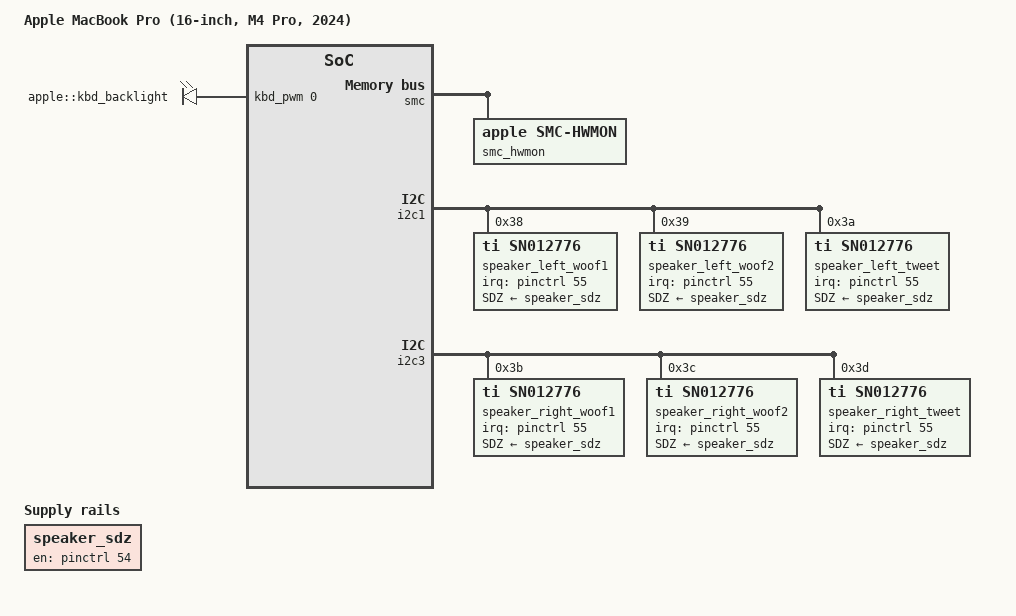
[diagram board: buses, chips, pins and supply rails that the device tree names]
// SPDX-License-Identifier: GPL-2.0+ OR MIT
/*
 * Apple MacBook Pro 16-inch (Mac16,7, J616s, T6040) for the M4 loader (rev 11).
 *
 * Filled in at boot by the loader from the ADT and its own layout (src/standalone/fixups.c):
	 * /memory: reg (single multi-range node), /memreserve map
	 * /chosen: bootargs, linux,initrd-*, rng-seed, m4,* records, lab,* descriptor; framebuffer node reg/format/size/stride/status
	 * /reserved-memory: reg of direct-smp-*, direct-desktop-*, aop-*; dcp-map pool (name, reg, compatible, iommu-addresses); memory-region lists
	 * dcp/display-subsystem/mailbox@402e08000/iommu@402340000/iommu@402300000: status okay once the display capture is accepted
	 * /cpus/cpu@*: cpu-release-addr from the SMP peer records
	 * bluetooth@0,1: local-bd-address, brcm,taurus-bf-cal-blob; wifi@0,0: brcm,cal-blob, apple,antenna-sku (ADT)
	 * headphone-codec-probe: status, lab,admission-result, lab,current-adt-validated (ADT contract)
	 * keyboard: hid-country-code (ADT)
 *
 * Declared differences from the rev 10 final tree: atc2_usb_aon is apple,always-on; the memory ranges are one
 * multi-range node; no m4,* diagnostic records.
 */

/dts-v1/;

/include/ "t6040.dtsi"
/include/ "t6040-j616s-gpu.dtsi"
/include/ "t6040-cpufreq.dtsi"
/include/ "t6040-pmc-mcc.dtsi"

/ {
	model = "Apple MacBook Pro (16-inch, M4 Pro, 2024)";
	compatible = "apple,j616s", "apple,t6040", "apple,arm-platform";

	reserved-memory {
		ranges;
		#address-cells = <2>;
		#size-cells = <2>;

		aop-oslog {
			no-map;
		};

		aop-etext {
			no-map;
		};

		direct-desktop-host1 {
			no-map;
		};

		direct-desktop-host0 {
			no-map;
		};

		direct-desktop-capture {
			no-map;
		};

		direct-smp-peers {
			no-map;
		};

		direct-smp-stacks {
			no-map;
		};

		direct-smp-records {
			no-map;
		};

		direct-smp-code {
			no-map;
		};

		direct-smp-vector {
			no-map;
		};

		dcp-map-pool0 {
			compatible = "apple,asc-mem";
			no-map;
			status = "disabled";
		};

		dcp-map-pool1 {
			compatible = "apple,asc-mem";
			no-map;
			status = "disabled";
		};

		dcp-map-pool2 {
			compatible = "apple,asc-mem";
			no-map;
			status = "disabled";
		};

		dcp-map-pool3 {
			compatible = "apple,asc-mem";
			no-map;
			status = "disabled";
		};

		dcp-map-pool4 {
			compatible = "apple,asc-mem";
			no-map;
			status = "disabled";
		};

		dcp-map-pool5 {
			compatible = "apple,asc-mem";
			no-map;
			status = "disabled";
		};

		dcp-map-pool6 {
			compatible = "apple,asc-mem";
			no-map;
			status = "disabled";
		};

		dcp-map-pool7 {
			compatible = "apple,asc-mem";
			no-map;
			status = "disabled";
		};

		dcp-map-pool8 {
			compatible = "apple,asc-mem";
			no-map;
			status = "disabled";
		};

		dcp-map-pool9 {
			compatible = "apple,asc-mem";
			no-map;
			status = "disabled";
		};

		dcp-map-pool10 {
			compatible = "apple,asc-mem";
			no-map;
			status = "disabled";
		};

		dcp-map-pool11 {
			compatible = "apple,asc-mem";
			no-map;
			status = "disabled";
		};

		dcp-map-pool12 {
			compatible = "apple,asc-mem";
			no-map;
			status = "disabled";
		};

		dcp-map-pool13 {
			compatible = "apple,asc-mem";
			no-map;
			status = "disabled";
		};

		dcp-map-pool14 {
			compatible = "apple,asc-mem";
			no-map;
			status = "disabled";
		};

		dcp-map-pool15 {
			compatible = "apple,asc-mem";
			no-map;
			status = "disabled";
		};
	};

	headphone-codec-probe {
		compatible = "lab,j616s-headphone-control-v1";
		reg = <4 0x29018000 0 0x4000 5 0x81e4000 0 0x4000>;
		clock-frequency = <0x16e3600>;
		codec-address = <0x4b>;
		status = "disabled";
	};

	led-controller {
		compatible = "pwm-leds";

		led-0 {
			color = <0>;
			function = "kbd_backlight";
			default-state = "keep";
			label = "apple::kbd_backlight";
			max-brightness = <0xff>;
			pwms = <&kbd_pwm 0 0x9c40>;
		};
	};

	clk_kbd_pwm: clock-kbd-pwm {
		compatible = "fixed-clock";
		#clock-cells = <0>;
		clock-frequency = <0x16e3600>;
	};

	chosen {
		ranges;
		#size-cells = <2>;
		#address-cells = <2>;

		framebuffer@0 {
			compatible = "apple,simple-framebuffer", "simple-framebuffer";
			status = "disabled";
		};
	};

	memory@0 {
		reg = <0 0 0 0>;
		device_type = "memory";
	};
};

&mtp_hid {
	/* SMC key gp1c powers the trackpad analog front end. */
	apple,afe-smc = <&smc>;
};

/*
 * CPU die temperature: SMC key TCMz (CPU die max) as thermal sensor 0 (method from Kb2uka/Omarchy-M4-Native's
 * J713 overlays). It is the only temperature child, so a missing key gives no zone instead of another sensor.
 * The PMP's fast die-temperature limit regulates (TCMz settles near 111 C); this zone is the backstop above it:
 * passive at 113 C, critical (orderly shutdown) at 118 C, 1 s polling as the SMC refreshes TCMz about once a
 * second. The cpufreq cooling device sits on a cluster's policy CPU, so each map lists every CPU of its cluster.
 */
&smc {
	smc_hwmon: hwmon {
		compatible = "apple,smc-hwmon";
		#thermal-sensor-cells = <1>;

		temperature-TCMz {
			apple,key-id = "TCMz";
			label = "CPU Die Max";
		};
	};
};

/ {
	thermal-zones {
		cpu-die-thermal {
			polling-delay-passive = <1000>;
			polling-delay = <1000>;
			thermal-sensors = <&smc_hwmon 0>;

			trips {
				cpu_die_passive: cpu-die-passive {
					temperature = <113000>;
					hysteresis = <5000>;
					type = "passive";
				};

				cpu-die-critical {
					temperature = <118000>;
					hysteresis = <0>;
					type = "critical";
				};
			};

			cooling-maps {
				map-e {
					trip = <&cpu_die_passive>;
					cooling-device = <&cpu_e0 0xffffffff 0xffffffff>, <&cpu_e1 0xffffffff 0xffffffff>,
							 <&cpu_e2 0xffffffff 0xffffffff>, <&cpu_e3 0xffffffff 0xffffffff>;
				};

				map-p0 {
					trip = <&cpu_die_passive>;
					cooling-device = <&cpu_p00 0xffffffff 0xffffffff>, <&cpu_p01 0xffffffff 0xffffffff>,
							 <&cpu_p02 0xffffffff 0xffffffff>, <&cpu_p03 0xffffffff 0xffffffff>,
							 <&cpu_p04 0xffffffff 0xffffffff>;
				};

				map-p1 {
					trip = <&cpu_die_passive>;
					cooling-device = <&cpu_p10 0xffffffff 0xffffffff>, <&cpu_p11 0xffffffff 0xffffffff>,
							 <&cpu_p12 0xffffffff 0xffffffff>, <&cpu_p13 0xffffffff 0xffffffff>,
							 <&cpu_p14 0xffffffff 0xffffffff>;
				};
			};
		};
	};
};

/*
 * Internal speakers: the six SN012776 amps, held in hardware shutdown until a sound card enables them. ADT master
 * node /arm-io/i2c1/audio-speaker@38: shutdown (SDZ) on AP pin 54 for all six, low = shutdown; one IRQ line on AP
 * pin 55, level low; sense slots from speaker-config (speaker i at RX bytes 4i and 4i + 2, order LW1 RW1 LW2 RW2
 * LT RT). Names as Asahi's J314/J316, which speakersafetyd's profile uses.
 * The shutdown line is one fixed regulator, the SDZ supply of all six, not per-amp shutdown-gpios: with
 * GPIO_SHARED six references become a vote, and one amp driving the line low would not shut the other five down.
 */
/ {
	speaker_sdz: regulator-sn012776-sdz {
		compatible = "regulator-fixed";
		regulator-name = "sn012776-sdz";
		gpios = <&pinctrl 54 0>;
		enable-active-high;
	};
};

&i2c1 {
	status = "okay";

	speaker_left_woof1: codec@38 {
		compatible = "ti,sn012776", "ti,tas2764";
		reg = <0x38>;
		SDZ-supply = <&speaker_sdz>;
		#sound-dai-cells = <0>;
		sound-name-prefix = "Left Woofer 1";
		interrupts-extended = <&pinctrl 55 8>;
		ti,imon-slot-no = <0>;
		ti,vmon-slot-no = <2>;
	};

	speaker_left_woof2: codec@39 {
		compatible = "ti,sn012776", "ti,tas2764";
		reg = <0x39>;
		SDZ-supply = <&speaker_sdz>;
		#sound-dai-cells = <0>;
		sound-name-prefix = "Left Woofer 2";
		interrupts-extended = <&pinctrl 55 8>;
		ti,imon-slot-no = <8>;
		ti,vmon-slot-no = <10>;
	};

	speaker_left_tweet: codec@3a {
		compatible = "ti,sn012776", "ti,tas2764";
		reg = <0x3a>;
		SDZ-supply = <&speaker_sdz>;
		#sound-dai-cells = <0>;
		sound-name-prefix = "Left Tweeter";
		interrupts-extended = <&pinctrl 55 8>;
		ti,imon-slot-no = <16>;
		ti,vmon-slot-no = <18>;
	};
};

&i2c3 {
	status = "okay";

	speaker_right_woof1: codec@3b {
		compatible = "ti,sn012776", "ti,tas2764";
		reg = <0x3b>;
		SDZ-supply = <&speaker_sdz>;
		#sound-dai-cells = <0>;
		sound-name-prefix = "Right Woofer 1";
		interrupts-extended = <&pinctrl 55 8>;
		ti,imon-slot-no = <4>;
		ti,vmon-slot-no = <6>;
	};

	speaker_right_woof2: codec@3c {
		compatible = "ti,sn012776", "ti,tas2764";
		reg = <0x3c>;
		SDZ-supply = <&speaker_sdz>;
		#sound-dai-cells = <0>;
		sound-name-prefix = "Right Woofer 2";
		interrupts-extended = <&pinctrl 55 8>;
		ti,imon-slot-no = <12>;
		ti,vmon-slot-no = <14>;
	};

	speaker_right_tweet: codec@3d {
		compatible = "ti,sn012776", "ti,tas2764";
		reg = <0x3d>;
		SDZ-supply = <&speaker_sdz>;
		#sound-dai-cells = <0>;
		sound-name-prefix = "Right Tweeter";
		interrupts-extended = <&pinctrl 55 8>;
		ti,imon-slot-no = <20>;
		ti,vmon-slot-no = <22>;
	};
};
